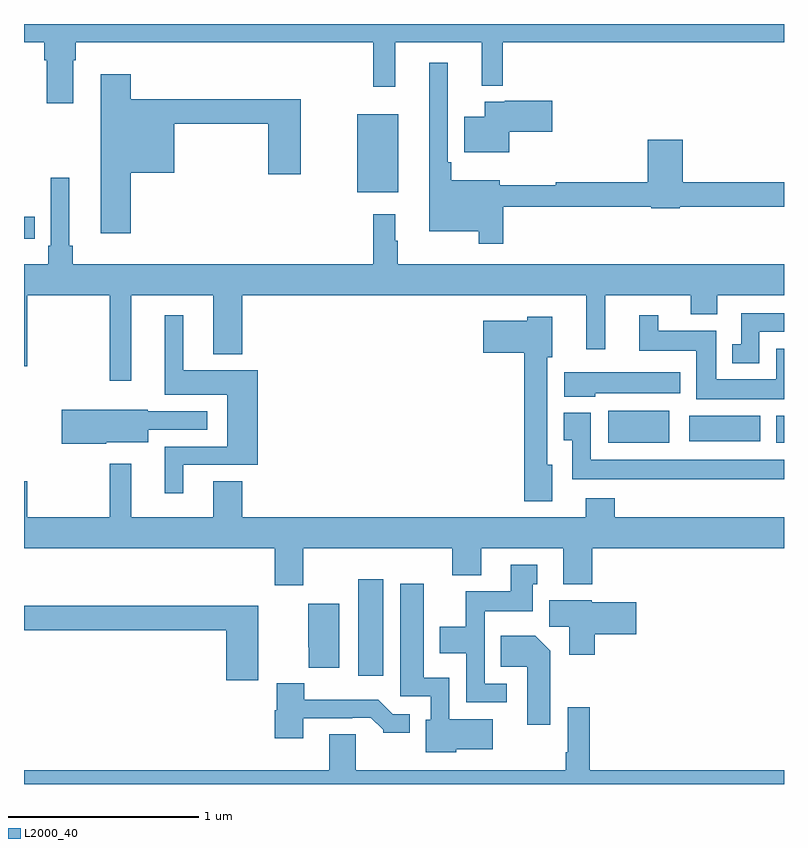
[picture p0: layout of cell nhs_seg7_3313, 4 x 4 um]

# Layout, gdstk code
import gdstk
lib = gdstk.Library(unit=1e-6, precision=1e-09)
def R(c, l, rs):  # rectangles x0, y0, x1, y1
    for r in rs: c.add(gdstk.rectangle(r[:2], r[2:], *l))
def P(c, l, *ps):  # polygons
    for p in ps: c.add(gdstk.Polygon(p, *l))
L2000_40 = (2000, 40)

nhs_seg7_3313 = lib.new_cell('nhs_seg7_3313')
R(nhs_seg7_3313, L2000_40, [(322.76,1042.569,322.891,1043.077), (324.074,1043.795,324.397,1043.965), (324.959,1043.795,325,1043.938), (324.501,1043.804,324.874,1043.938), (321,1044.87,321.056,1044.986), (322.754,1045.115,322.969,1045.525)])
P(nhs_seg7_3313, L2000_40, [(321.259,1045.808),(321.272,1045.808),(321.272,1045.904),(322.837,1045.904),(322.837,1045.671),(322.955,1045.671),(322.955,1045.904),(323.408,1045.904),(323.408,1045.676),(323.52,1045.676),(323.52,1045.904),(325,1045.904),(325,1046),(321,1046),(321,1045.904),(321.107,1045.904),(321.107,1045.808),(321.119,1045.808),(321.119,1045.584),(321.259,1045.584)],
  [(323.522,1045.038),(324.3,1045.038),(324.3,1045.03),(324.45,1045.03),(324.45,1045.038),(325,1045.038),(325,1045.166),(324.467,1045.166),(324.467,1045.39),(324.284,1045.39),(324.284,1045.166),(323.799,1045.166),(323.799,1045.151),(323.503,1045.151),(323.503,1045.177),(323.249,1045.177),(323.249,1045.273),(323.229,1045.273),(323.229,1045.795),(323.132,1045.795),(323.132,1044.908),(323.394,1044.908),(323.394,1044.843),(323.522,1044.843)],
  [(321.563,1045.217),(321.79,1045.217),(321.79,1045.474),(322.286,1045.474),(322.286,1045.209),(322.456,1045.209),(322.456,1045.603),(321.563,1045.603),(321.563,1045.735),(321.404,1045.735),(321.404,1044.9),(321.563,1044.9)],
  [(323.554,1045.433),(323.779,1045.433),(323.779,1045.596),(323.53,1045.596),(323.53,1045.591),(323.426,1045.591),(323.426,1045.513),(323.318,1045.513),(323.318,1045.325),(323.554,1045.325)],
  [(322.966,1044.86),(322.954,1044.86),(322.954,1045),(322.837,1045),(322.837,1044.736),(321.257,1044.736),(321.257,1044.832),(321.238,1044.832),(321.238,1045.192),(321.141,1045.192),(321.141,1044.832),(321.128,1044.832),(321.128,1044.736),(321,1044.736),(321,1044.198),(321.016,1044.198),(321.016,1044.572),(321.451,1044.572),(321.451,1044.123),(321.565,1044.123),(321.565,1044.572),(321.995,1044.572),(321.995,1044.263),(322.148,1044.263),(322.148,1044.572),(323.96,1044.572),(323.96,1044.288),(324.059,1044.288),(324.059,1044.572),(324.509,1044.572),(324.509,1044.473),(324.649,1044.473),(324.649,1044.572),(325,1044.572),(325,1044.736),(322.966,1044.736)],
  [(324.87,1044.381),(325,1044.381),(325,1044.477),(324.774,1044.477),(324.774,1044.315),(324.728,1044.315),(324.728,1044.215),(324.87,1044.215)],
  [(321.838,1043.679),(322.229,1043.679),(322.229,1044.178),(321.838,1044.178),(321.838,1044.466),(321.74,1044.466),(321.74,1044.05),(322.07,1044.05),(322.07,1043.775),(321.74,1043.775),(321.74,1043.529),(321.838,1043.529)],
  [(325,1044.291),(324.959,1044.291),(324.959,1044.13),(324.643,1044.13),(324.643,1044.385),(324.337,1044.385),(324.337,1044.466),(324.239,1044.466),(324.239,1044.281),(324.539,1044.281),(324.539,1044.026),(325,1044.026)],
  [(323.779,1043.679),(323.755,1043.679),(323.755,1044.246),(323.779,1044.246),(323.779,1044.46),(323.649,1044.46),(323.649,1044.439),(323.418,1044.439),(323.418,1044.269),(323.633,1044.269),(323.633,1043.489),(323.779,1043.489)],
  [(324.006,1044.056),(324.454,1044.056),(324.454,1044.166),(323.844,1044.166),(323.844,1044.038),(324.006,1044.038)],
  [(321.432,1043.798),(321.655,1043.798),(321.655,1043.865),(321.964,1043.865),(321.964,1043.961),(321.651,1043.961),(321.651,1043.969),(321.198,1043.969),(321.198,1043.791),(321.432,1043.791)],
  [(325,1043.707),(323.982,1043.707),(323.982,1043.953),(323.84,1043.953),(323.84,1043.809),(323.885,1043.809),(323.885,1043.603),(325,1043.603)],
  [(322.471,1043.24),(323.255,1043.24),(323.255,1043.099),(323.407,1043.099),(323.407,1043.24),(323.837,1043.24),(323.837,1043.051),(323.99,1043.051),(323.99,1043.24),(325,1043.24),(325,1043.404),(324.11,1043.404),(324.11,1043.503),(323.957,1043.503),(323.957,1043.404),(322.148,1043.404),(322.148,1043.594),(321.995,1043.594),(321.995,1043.404),(321.565,1043.404),(321.565,1043.686),(321.451,1043.686),(321.451,1043.404),(321.016,1043.404),(321.016,1043.593),(321,1043.593),(321,1043.24),(322.319,1043.24),(322.319,1043.046),(322.471,1043.046)],
  [(323.542,1042.527),(323.424,1042.527),(323.424,1042.91),(323.677,1042.91),(323.677,1043.052),(323.701,1043.052),(323.701,1043.155),(323.561,1043.155),(323.561,1043.014),(323.326,1043.014),(323.326,1042.828),(323.189,1042.828),(323.189,1042.688),(323.328,1042.688),(323.328,1042.431),(323.542,1042.431)],
  [(323.274,1042.184),(323.467,1042.184),(323.467,1042.342),(323.238,1042.342),(323.238,1042.558),(323.104,1042.558),(323.104,1043.053),(322.979,1043.053),(322.979,1042.461),(323.142,1042.461),(323.142,1042.338),(323.114,1042.338),(323.114,1042.166),(323.274,1042.166)],
  [(324.005,1042.787),(324.223,1042.787),(324.223,1042.957),(323.988,1042.957),(323.988,1042.966),(323.765,1042.966),(323.765,1042.828),(323.87,1042.828),(323.87,1042.68),(324.005,1042.68)],
  [(322.66,1042.948),(322.496,1042.948),(322.496,1042.72),(322.498,1042.72),(322.498,1042.613),(322.66,1042.613)],
  [(322.234,1042.939),(321,1042.939),(321,1042.81),(322.064,1042.81),(322.064,1042.545),(322.234,1042.545)],
  [(323.77,1042.702),(323.692,1042.78),(323.509,1042.78),(323.509,1042.616),(323.648,1042.616),(323.648,1042.311),(323.77,1042.311)],
  [(322.471,1042.347),(322.727,1042.347),(322.727,1042.35),(322.826,1042.35),(322.89,1042.286),(322.89,1042.271),(323.029,1042.271),(323.029,1042.368),(322.941,1042.368),(322.865,1042.444),(322.474,1042.444),(322.474,1042.531),(322.331,1042.531),(322.331,1042.389),(322.319,1042.389),(322.319,1042.242),(322.471,1042.242)],
  [(325,1042.072),(323.978,1042.072),(323.978,1042.405),(323.862,1042.405),(323.862,1042.168),(323.85,1042.168),(323.85,1042.072),(322.747,1042.072),(322.747,1042.262),(322.607,1042.262),(322.607,1042.072),(321,1042.072),(321,1042),(325,1042)])

lib.write_gds('nhs_seg7_3313.gds')
